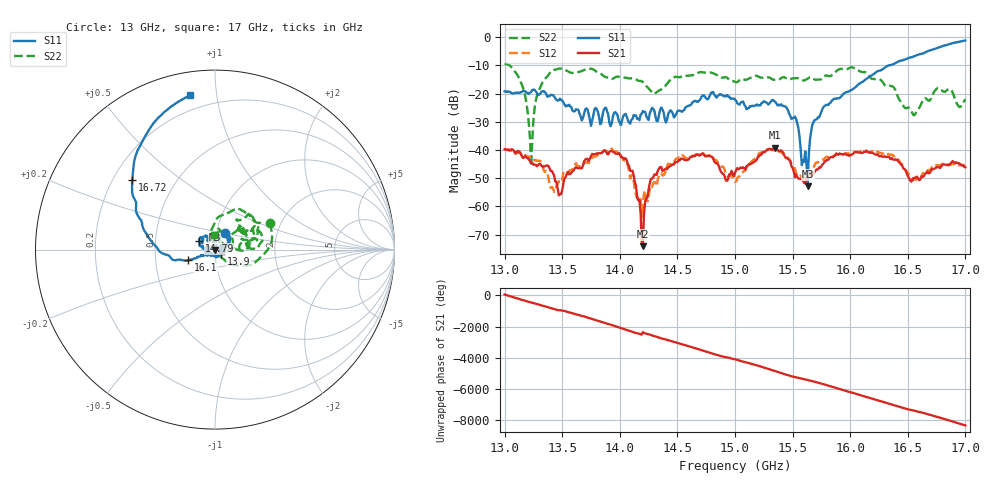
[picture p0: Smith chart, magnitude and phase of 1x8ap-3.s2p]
!Keysight Technologies,P9374A,MY57211807,A.19.30.04
!Date: Friday, May 08, 2026 15:44:41
!Correction: S11(C  2-Port  )
!S21(C  2-Port  )
!S12(C  2-Port  )
!S22(C  2-Port  )
!S2P File: Measurements: S11, S21, S12, S22:
# Hz S  dB  R 50
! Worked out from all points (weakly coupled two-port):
!   401 points, 13 GHz to 17 GHz, reference 50 ohm
!   highest |S21| = -39.23 dB at 15.35 GHz (marker M1); lowest = -74.1 dB at 14.2 GHz (marker M2)
!   lowest |S11| = -52.8 dB at 15.63 GHz (marker M3), VSWR 1.00, Z = 49.8 - j0.0427 ohm
!   |S11| at or under -10 dB: start of sweep to 16.34 GHz
!   |S22| runs from -45.7 to -9.4 dB; largest |S21 - S12| = 0.0027
!   S11 on the Smith chart (normalised r, x): 13 GHz: 1.10, +0.21; 13.9 GHz: 1.07, -0.05; 14.79 GHz: 0.83, +0.08; 16.1 GHz: 0.74, -0.09; 16.72 GHz: 0.28, +0.34; 17 GHz: 0.12, +0.84
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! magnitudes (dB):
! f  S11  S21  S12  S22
! 13 GHz  -19.2  -39.7  -39.7  -9.4
! 13.15 GHz  -19.4  -42.2  -41.8  -16.9
! 13.23 GHz  -19.4  -44.7  -43.0  -45.7
! 13.28 GHz  -19.8  -45.8  -43.9  -20.9
! 13.35 GHz  -19.6  -45.8  -47.8  -14.8
! 13.48 GHz  -21.8  -55.8  -51.1  -11.1
! 13.67 GHz  -29.6  -46.5  -45.7  -12.0
! 13.9 GHz  -27.6  -41.6  -41.0  -14.4
! 14.1 GHz  -29.3  -47.4  -49.0  -14.6
! 14.2 GHz  -26.2  -74.1  -59.8  -15.9
! 14.34 GHz  -27.6  -46.7  -49.0  -19.0
! 14.79 GHz  -19.9  -42.4  -42.0  -12.6
! 15 GHz  -22.1  -48.2  -51.2  -15.9
! 15.35 GHz  -23.0  -39.2  -39.9  -15.1
! 15.53 GHz  -28.9  -48.7  -48.3  -14.5
! 15.63 GHz  -52.8  -49.0  -47.5  -14.7
! 15.67 GHz  -31.3  -48.4  -46.7  -14.4
! 16.1 GHz  -16.0  -41.1  -40.6  -12.4
! 16.34 GHz  -10.0  -42.6  -41.7  -17.3
! 16.55 GHz  -6.8  -49.9  -50.5  -27.7
! 16.72 GHz  -4.4  -46.8  -46.0  -20.0
! 17 GHz  -1.2  -46.2  -46.0  -22.0
